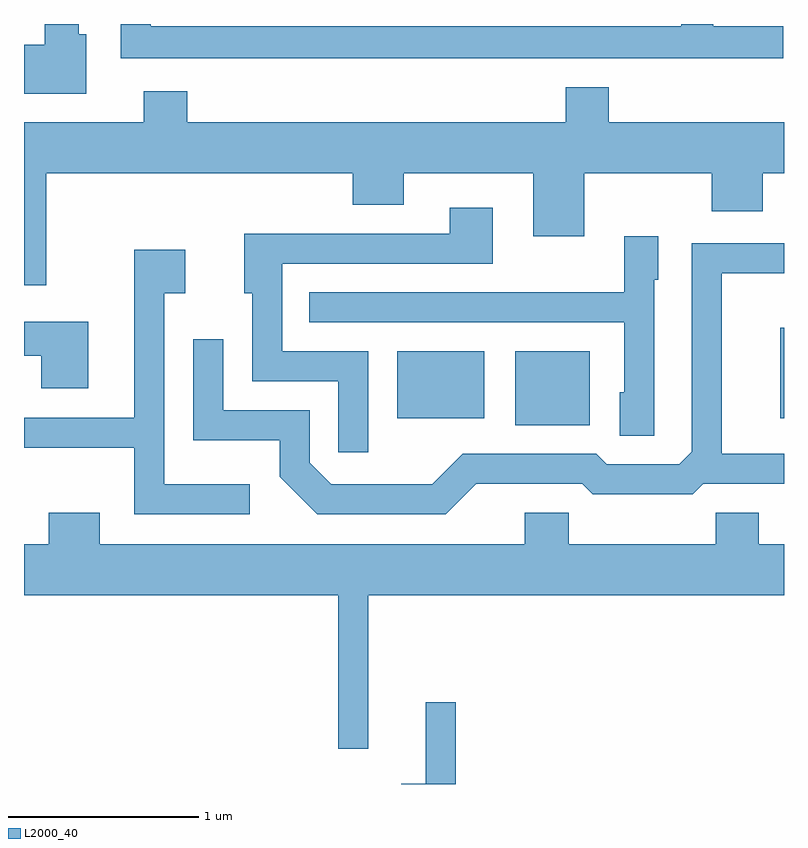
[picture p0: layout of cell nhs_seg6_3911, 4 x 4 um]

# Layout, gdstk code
import gdstk
lib = gdstk.Library(unit=1e-6, precision=1e-09)
def R(c, l, rs):  # rectangles x0, y0, x1, y1
    for r in rs: c.add(gdstk.rectangle(r[:2], r[2:], *l))
def P(c, l, *ps):  # polygons
    for p in ps: c.add(gdstk.Polygon(p, *l))
L2000_40 = (2000, 40)

nhs_seg6_3911 = lib.new_cell('nhs_seg6_3911')
R(nhs_seg6_3911, L2000_40, [(306.196,1542.051,306.589,1542.439), (305.576,1542.086,306.034,1542.439), (307.591,1542.086,307.611,1542.564)])
P(nhs_seg6_3911, L2000_40, [(307.608,1544.149),(307.239,1544.149),(307.239,1544.162),(307.071,1544.162),(307.071,1544.149),(304.279,1544.149),(304.279,1544.162),(304.121,1544.162),(304.121,1543.981),(307.608,1543.981)],
  [(303.939,1544.109),(303.899,1544.109),(303.899,1544.162),(303.721,1544.162),(303.721,1544.054),(303.611,1544.054),(303.611,1543.796),(303.939,1543.796)],
  [(303.729,1543.376),(305.341,1543.376),(305.341,1543.211),(305.609,1543.211),(305.609,1543.376),(306.291,1543.376),(306.291,1543.046),(306.559,1543.046),(306.559,1543.376),(307.231,1543.376),(307.231,1543.176),(307.499,1543.176),(307.499,1543.376),(307.611,1543.376),(307.611,1543.644),(306.689,1543.644),(306.689,1543.829),(306.461,1543.829),(306.461,1543.644),(304.469,1543.644),(304.469,1543.809),(304.241,1543.809),(304.241,1543.644),(303.611,1543.644),(303.611,1542.786),(303.729,1542.786)],
  [(305.424,1542.439),(304.969,1542.439),(304.969,1542.901),(306.079,1542.901),(306.079,1543.194),(305.851,1543.194),(305.851,1543.059),(304.771,1543.059),(304.771,1542.746),(304.811,1542.746),(304.811,1542.281),(305.266,1542.281),(305.266,1541.908),(305.424,1541.908)],
  [(306.929,1542.816),(306.949,1542.816),(306.949,1543.044),(306.771,1543.044),(306.771,1542.749),(305.113,1542.749),(305.113,1542.591),(306.771,1542.591),(306.771,1542.224),(306.746,1542.224),(306.746,1541.996),(306.929,1541.996)],
  [(305.992,1541.741),(306.549,1541.741),(306.604,1541.686),(307.132,1541.686),(307.187,1541.741),(307.611,1541.741),(307.611,1541.899),(307.284,1541.899),(307.284,1542.851),(307.611,1542.851),(307.611,1543.009),(307.126,1543.009),(307.126,1541.912),(307.059,1541.844),(306.677,1541.844),(306.622,1541.899),(305.919,1541.899),(305.759,1541.739),(305.227,1541.739),(305.114,1541.852),(305.114,1542.129),(304.659,1542.129),(304.659,1542.503),(304.501,1542.503),(304.501,1541.971),(304.956,1541.971),(304.956,1541.779),(305.154,1541.581),(305.832,1541.581)],
  [(304.798,1541.739),(304.349,1541.739),(304.349,1542.746),(304.459,1542.746),(304.459,1542.974),(304.191,1542.974),(304.191,1542.089),(303.611,1542.089),(303.611,1541.931),(304.191,1541.931),(304.191,1541.581),(304.798,1541.581)],
  [(303.949,1542.594),(303.611,1542.594),(303.611,1542.416),(303.701,1542.416),(303.701,1542.246),(303.949,1542.246)],
  [(305.424,1541.156),(307.611,1541.156),(307.611,1541.424),(307.479,1541.424),(307.479,1541.589),(307.251,1541.589),(307.251,1541.424),(306.479,1541.424),(306.479,1541.589),(306.246,1541.589),(306.246,1541.424),(304.009,1541.424),(304.009,1541.589),(303.741,1541.589),(303.741,1541.424),(303.611,1541.424),(303.611,1541.156),(305.266,1541.156),(305.266,1540.348),(305.424,1540.348)],
  [(305.884,1540.593),(305.726,1540.593),(305.726,1540.164),(305.596,1540.164),(305.596,1540.162),(305.884,1540.162)])

lib.write_gds('nhs_seg6_3911.gds')
